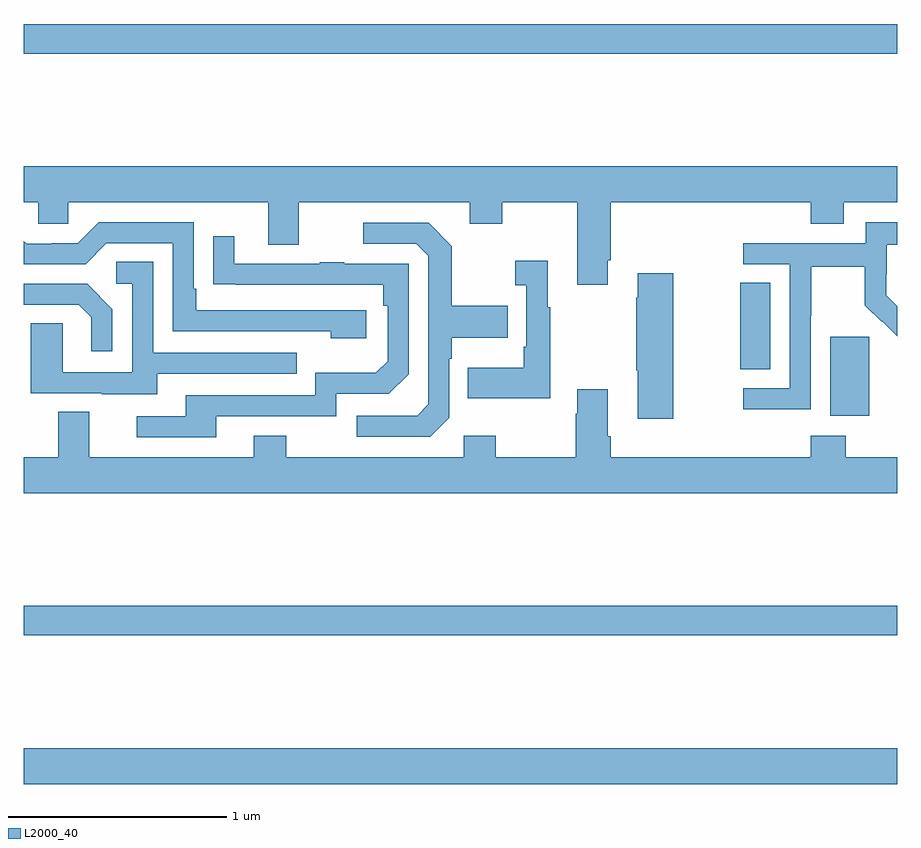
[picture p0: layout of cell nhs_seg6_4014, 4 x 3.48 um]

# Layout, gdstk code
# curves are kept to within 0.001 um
import gdstk
lib = gdstk.Library(unit=1e-6, precision=1e-09)
def R(c, l, rs):  # rectangles x0, y0, x1, y1
    for r in rs: c.add(gdstk.rectangle(r[:2], r[2:], *l))
def P(c, l, *ps):  # polygons
    for p in ps: c.add(gdstk.Polygon(p, *l))
L2000_40 = (2000, 40)

nhs_seg6_4014 = lib.new_cell('nhs_seg6_4014')
R(nhs_seg6_4014, L2000_40, [(347,985.964,351,986.128), (347,986.644,351,986.78), (350.693,987.65,350.872,988.011), (350.281,987.862,350.419,988.259), (347,989.308,351,989.444)])
P(nhs_seg6_4014, L2000_40, [(349.675,988.363),(349.688,988.363),(349.688,988.628),(350.603,988.628),(350.603,988.529),(350.755,988.529),(350.755,988.628),(351,988.628),(351,988.792),(347,988.792),(347,988.628),(347.067,988.628),(347.067,988.53),(347.205,988.53),(347.205,988.628),(348.119,988.628),(348.119,988.434),(348.259,988.434),(348.259,988.628),(349.043,988.628),(349.043,988.529),(349.191,988.529),(349.191,988.628),(349.535,988.628),(349.535,988.251),(349.675,988.251)],
  [(350.604,988.108),(350.607,988.108),(350.607,988.332),(350.851,988.332),(350.851,988.157),(350.928,988.08),(350.931,988.083),(351,988.015),(351,988.152),(350.95,988.202),(350.95,988.299),(350.952,988.299),(350.952,988.433),(351,988.433),(351,988.537),(350.856,988.537),(350.856,988.44),(350.295,988.44),(350.295,988.344),(350.508,988.344),(350.508,987.777),(350.295,987.777),(350.295,987.679),(350.604,987.679)],
  [(348.568,988.134),(347.791,988.134),(347.791,988.231),(347.778,988.231),(347.778,988.536),(347.343,988.536),(347.247,988.44),(347.129,988.44),(347.129,988.437),(347.013,988.437),(347,988.45),(347,988.344),(347.283,988.344),(347.379,988.44),(347.682,988.44),(347.682,988.038),(348.407,988.038),(348.407,988.004),(348.568,988.004)],
  [(348.948,987.642),(348.948,987.911),(348.961,987.911),(348.961,988.007),(349.217,988.007),(349.217,988.155),(348.961,988.155),(348.961,988.427),(348.855,988.533),(348.555,988.533),(348.555,988.437),(348.798,988.437),(348.852,988.383),(348.852,987.702),(348.801,987.651),(348.525,987.651),(348.525,987.555),(348.861,987.555)],
  [(347.881,987.648),(348.432,987.648),(348.432,987.75),(348.672,987.75),(348.762,987.84),(348.762,988.347),(348.467,988.347),(348.467,988.352),(348.355,988.352),(348.355,988.347),(347.965,988.347),(347.965,988.471),(347.869,988.471),(347.869,988.252),(348.646,988.251),(348.646,988.154),(348.666,988.154),(348.666,987.9),(348.613,987.847),(348.336,987.847),(348.336,987.744),(347.741,987.744),(347.741,987.648),(347.517,987.648),(347.517,987.552),(347.881,987.552)],
  [(349.411,988.147),(349.399,988.147),(349.399,988.36),(349.251,988.36),(349.251,988.247),(349.302,988.247),(349.302,987.967),(349.29,987.967),(349.29,987.871),(349.033,987.871),(349.033,987.731),(349.411,987.731)],
  [(347.611,987.843),(348.251,987.843),(348.251,987.939),(347.592,987.939),(347.592,988.355),(347.424,988.355),(347.424,988.254),(347.496,988.254),(347.496,987.849),(347.178,987.849),(347.178,988.073),(347.033,988.073),(347.033,987.753),(347.357,987.753),(347.357,987.749),(347.611,987.749)],
  [(349.974,988.303),(349.811,988.303),(349.811,988.19),(349.804,988.19),(349.804,987.859),(349.811,987.859),(349.811,987.636),(349.974,987.636)],
  [(347.406,988.138),(347.29,988.254),(347,988.254),(347,988.158),(347.252,988.158),(347.309,988.101),(347.309,987.945),(347.406,987.945)],
  [(351,987.46),(350.763,987.46),(350.763,987.559),(350.603,987.559),(350.603,987.46),(349.688,987.46),(349.688,987.556),(349.675,987.556),(349.675,987.772),(349.535,987.772),(349.535,987.659),(349.528,987.659),(349.528,987.46),(349.161,987.46),(349.161,987.559),(349.014,987.559),(349.014,987.46),(348.201,987.46),(348.201,987.559),(348.053,987.559),(348.053,987.46),(347.299,987.46),(347.299,987.668),(347.159,987.668),(347.159,987.46),(347,987.46),(347,987.296),(351,987.296)])

lib.write_gds('nhs_seg6_4014.gds')
